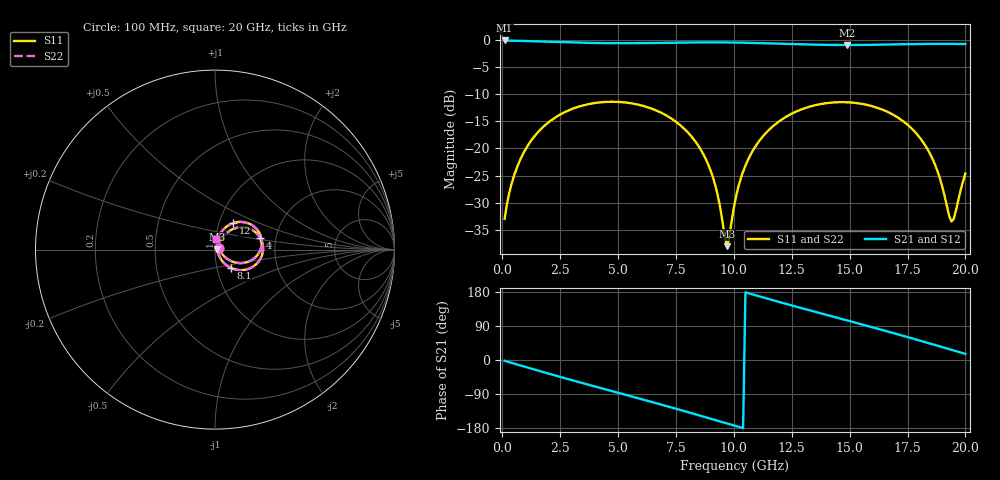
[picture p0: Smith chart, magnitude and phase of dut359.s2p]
! Touchstone file exported from HFSS 2026.1.0
!  File:  C:/ffzhzh/LocalFiles/Ansys_Project_Files/temp_train_TSV_RDL_359_1783038253_46388.aedt
!  Generated:  08:40:47 AM Jul  3, 2026
!  Design:  TSV_RDL
!  Project:  temp_train_TSV_RDL_359_1783038253_46388
! Variables:
!  h_bsmrdl = 5.87um
!  h_ox = 20um
!  h_rdl = 5um
!  h_sub = 91.21um
!  h_tmrdl = 3.91um
!  h_tsv = 91.21um
!  h_via = 3um
!  l_bsmrdl = 663.99um
!  l_sub = 5739.28um
!  l_tmrdl = 800.52um
!  m_sub = 200um
!  pitch = 36.96um
!  r_tsv = 10.16um
!  s_tmrdl = 10um
!  w_bsmrdl = 25.34um
!  w_sub = 500um
!  w_tmrdl = 23.07um
!  x_tsv_center1 = 812.055um
!  x_tsv_center2 = 1501.385um
!  x_tsv_center3 = 2324.975um
!  x_tsv_center4 = 3014.305um
!  x_tsv_center5 = 3837.895um
!  x_tsv_center6 = 4527.225um
# GHz S MA R 50.000000
! Terminal data exported
! Port[1] = TM_RDL1_1_T1
! Port[2] = TM_RDL5_1_T1
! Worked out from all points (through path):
!   200 points, 100 MHz to 20 GHz, reference 50 ohm
!   highest |S21| = -0.17 dB at 100 MHz (marker M1); lowest = -1.0 dB at 14.9 GHz (marker M2)
!   group delay of S21, straight-line fit = 47.5 ps
!   lowest |S11| = -38.0 dB at 9.7 GHz (marker M3), VSWR 1.03, Z = 51.3 + j0.132 ohm
!   |S11| at or under -10 dB: start of sweep to end of sweep
!   |S22| runs from -37.8 to -11.4 dB; largest |S21 - S12| = 1.7e-14
!   S11 on the Smith chart (normalised r, x): 100 MHz: 1.04, +0.02; 4 GHz: 1.66, +0.22; 8.1 GHz: 1.16, -0.24; 12 GHz: 1.17, +0.36; 20 GHz: 1.01, +0.12
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0.1  0.02252 30.0  0.9808 -2.0  0.9808 -2.0  0.02252 30.0
! Gamma 0 0 0 0
! Port Impedance 50 0 50 0
0.5  0.05549 55.3  0.975 -9.3  0.975 -9.3  0.05549 55.3
1.2  0.1141 54.7  0.9669 -21.8  0.9669 -21.8  0.1141 54.7
2.2  0.1867 41.7  0.9523 -39.4  0.9523 -39.4  0.1867 41.7
3.5  0.2485 21.7  0.9347 -61.5  0.9347 -61.5  0.2485 21.8
4  0.2611 13.9  0.9301 -69.8  0.9301 -69.8  0.2611 14.0
5.4  0.2627 -7.9  0.9259 -93.0  0.9259 -93.0  0.2627 -7.9
6.8  0.2157 -29.8  0.9323 -116.6  0.9323 -116.6  0.2157 -29.7
8.1  0.1339 -49.4  0.9405 -139.1  0.9405 -139.1  0.1339 -49.2
9.1  0.05392 -58.2  0.9427 -156.7  0.9427 -156.7  0.05396 -57.9
9.7  0.01263 5.8  0.9409 -167.4  0.9409 -167.4  0.01292 6.0
10.1  0.0365 70.9  0.9383 -174.5  0.9383 -174.5  0.03662 70.5
10.8  0.09376 71.5  0.9315 173.2  0.9315 173.2  0.09382 71.4
12  0.1799 55.4  0.9156 152.4  0.9156 152.4  0.18 55.3
13.4  0.2459 34.1  0.8986 129.0  0.8986 129.0  0.2459 34.1
14.9  0.2651 11.3  0.8914 104.3  0.8914 104.3  0.2651 11.3
16.7  0.2134 -15.7  0.9002 74.3  0.9002 74.3  0.2134 -15.7
17.7  0.1507 -29.7  0.9083 57.1  0.9083 57.1  0.1507 -29.8
18.4  0.09536 -36.8  0.9125 44.7  0.9125 44.7  0.09533 -36.8
18.9  0.05285 -34.5  0.9136 35.8  0.9136 35.8  0.05279 -34.6
19.4  0.02127 18.5  0.9129 26.9  0.9129 26.9  0.02112 18.5
20  0.05857 81.9  0.9093 16.1  0.9093 16.1  0.05851 82.1
